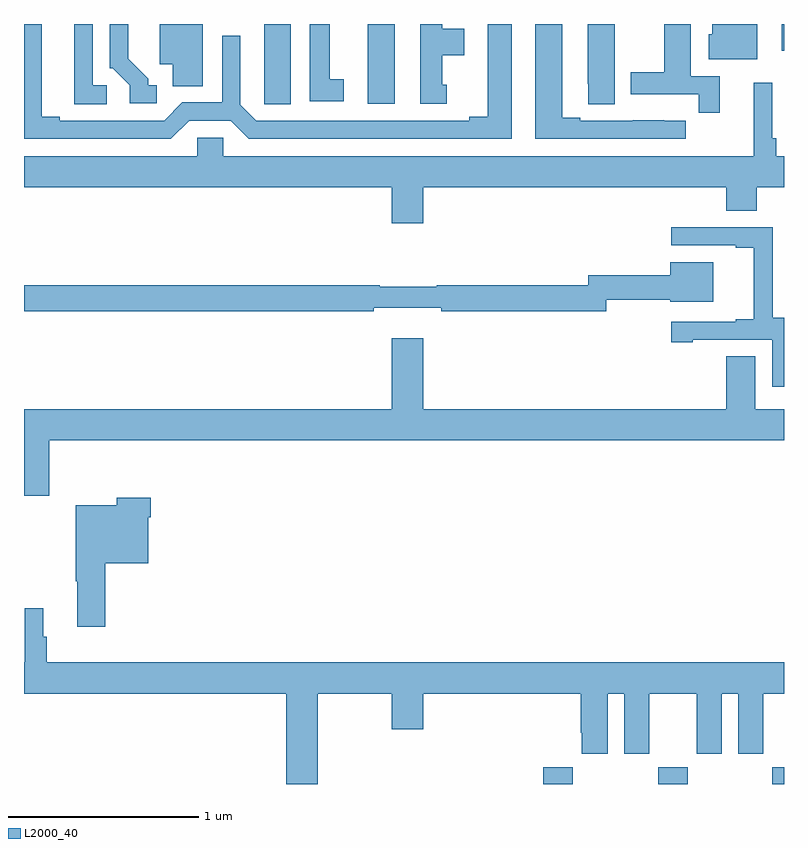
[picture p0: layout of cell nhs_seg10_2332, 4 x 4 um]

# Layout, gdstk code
import gdstk
lib = gdstk.Library(unit=1e-6, precision=1e-09)
def R(c, l, rs):  # rectangles x0, y0, x1, y1
    for r in rs: c.add(gdstk.rectangle(r[:2], r[2:], *l))
def P(c, l, *ps):  # polygons
    for p in ps: c.add(gdstk.Polygon(p, *l))
L2000_40 = (2000, 40)

nhs_seg10_2332 = lib.new_cell('nhs_seg10_2332')
R(nhs_seg10_2332, L2000_40, [(237.734,1306.5,237.889,1306.588), (238.339,1306.5,238.494,1306.588), (238.939,1306.5,239,1306.588), (236.81,1310.079,236.95,1310.5), (238.988,1310.358,239,1310.5)])
P(nhs_seg10_2332, L2000_40, [(238.661,1310.226),(238.51,1310.226),(238.51,1310.5),(238.37,1310.5),(238.37,1310.247),(238.193,1310.247),(238.193,1310.13),(238.552,1310.13),(238.552,1310.034),(238.661,1310.034)],
  [(236.404,1310.5),(236.264,1310.5),(236.264,1310.185),(236.265,1310.185),(236.265,1310.077),(236.404,1310.077)],
  [(235.869,1309.992),(236.087,1309.992),(236.183,1309.896),(237.568,1309.896),(237.568,1310.5),(237.44,1310.5),(237.44,1310.012),(237.344,1310.012),(237.344,1309.992),(236.223,1309.992),(236.139,1310.076),(236.139,1310.437),(236.043,1310.437),(236.043,1310.088),(235.833,1310.088),(235.737,1309.992),(235.189,1309.992),(235.189,1310.012),(235.093,1310.012),(235.093,1310.5),(235,1310.5),(235,1309.896),(235.773,1309.896)],
  [(235.435,1310.178),(235.362,1310.178),(235.362,1310.5),(235.265,1310.5),(235.265,1310.077),(235.435,1310.077)],
  [(235.942,1310.5),(235.715,1310.5),(235.715,1310.288),(235.784,1310.288),(235.784,1310.173),(235.942,1310.173)],
  [(238.108,1310.5),(237.968,1310.5),(237.968,1310.185),(237.969,1310.185),(237.969,1310.077),(238.108,1310.077)],
  [(238.483,1309.992),(238.37,1309.992),(238.37,1309.993),(238.204,1309.993),(238.204,1309.992),(237.928,1309.992),(237.928,1310.007),(237.832,1310.007),(237.832,1310.5),(237.692,1310.5),(237.692,1309.896),(238.483,1309.896)],
  [(235.699,1310.178),(235.654,1310.178),(235.654,1310.213),(235.549,1310.318),(235.549,1310.5),(235.452,1310.5),(235.452,1310.268),(235.467,1310.268),(235.557,1310.178),(235.557,1310.082),(235.699,1310.082)],
  [(236.683,1310.21),(236.608,1310.21),(236.608,1310.5),(236.504,1310.5),(236.504,1310.094),(236.683,1310.094)],
  [(237.226,1310.181),(237.202,1310.181),(237.202,1310.336),(237.316,1310.336),(237.316,1310.476),(237.202,1310.476),(237.202,1310.5),(237.086,1310.5),(237.086,1310.079),(237.226,1310.079)],
  [(238.858,1310.5),(238.622,1310.5),(238.622,1310.445),(238.604,1310.445),(238.604,1310.315),(238.858,1310.315)],
  [(237.1,1309.64),(238.697,1309.64),(238.697,1309.516),(238.857,1309.516),(238.857,1309.64),(239,1309.64),(239,1309.804),(238.958,1309.804),(238.958,1309.9),(238.938,1309.9),(238.938,1310.191),(238.841,1310.191),(238.841,1309.804),(236.049,1309.804),(236.049,1309.902),(235.911,1309.902),(235.911,1309.804),(235,1309.804),(235,1309.64),(236.936,1309.64),(236.936,1309.452),(237.1,1309.452)],
  [(239,1308.953),(238.941,1308.953),(238.941,1309.431),(238.407,1309.431),(238.407,1309.335),(238.745,1309.335),(238.745,1309.323),(238.841,1309.323),(238.841,1308.946),(238.745,1308.946),(238.745,1308.933),(238.407,1308.933),(238.407,1308.825),(238.519,1308.825),(238.519,1308.837),(238.938,1308.837),(238.938,1308.591),(239,1308.591)],
  [(236.84,1309.007),(237.196,1309.007),(237.196,1308.988),(238.065,1308.988),(238.065,1309.048),(238.4,1309.048),(238.4,1309.037),(238.627,1309.037),(238.627,1309.246),(238.4,1309.246),(238.4,1309.177),(237.969,1309.177),(237.969,1309.124),(237.172,1309.124),(237.172,1309.117),(236.872,1309.117),(236.872,1309.124),(235,1309.124),(235,1308.988),(236.84,1308.988)],
  [(235.133,1308.308),(239,1308.308),(239,1308.472),(238.849,1308.472),(238.849,1308.752),(238.697,1308.752),(238.697,1308.472),(237.1,1308.472),(237.1,1308.847),(236.936,1308.847),(236.936,1308.472),(235,1308.472),(235,1308.018),(235.133,1308.018)],
  [(235.427,1307.663),(235.654,1307.663),(235.654,1307.903),(235.667,1307.903),(235.667,1308.007),(235.489,1308.007),(235.489,1307.968),(235.273,1307.968),(235.273,1307.567),(235.28,1307.567),(235.28,1307.328),(235.427,1307.328)],
  [(236.545,1306.976),(236.936,1306.976),(236.936,1306.788),(237.1,1306.788),(237.1,1306.976),(237.929,1306.976),(237.929,1306.771),(237.935,1306.771),(237.935,1306.659),(238.072,1306.659),(238.072,1306.976),(238.16,1306.976),(238.16,1306.659),(238.291,1306.659),(238.291,1306.976),(238.541,1306.976),(238.541,1306.659),(238.672,1306.659),(238.672,1306.976),(238.76,1306.976),(238.76,1306.659),(238.891,1306.659),(238.891,1306.976),(239,1306.976),(239,1307.14),(235.121,1307.14),(235.121,1307.274),(235.102,1307.274),(235.102,1307.425),(235.003,1307.425),(235.003,1307.14),(235,1307.14),(235,1306.976),(236.381,1306.976),(236.381,1306.5),(236.545,1306.5)])

lib.write_gds('nhs_seg10_2332.gds')
